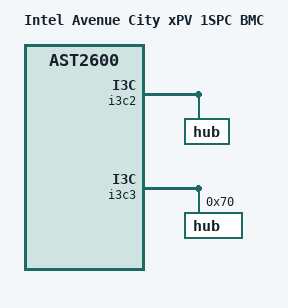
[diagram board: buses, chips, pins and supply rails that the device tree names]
// SPDX-License-Identifier: GPL-2.0+
/dts-v1/;

#include "aspeed-bmc-intel-bhs.dtsi"

/ {
	model = "Intel Avenue City xPV 1SPC BMC";
	compatible = "intel,avc-xpv1s-bmc", "aspeed,ast2600";
};

&mac3 {
	/* OCP NIC is not supported by xPV platforms */
	status = "disabled";
};

&i3c2 {
	/* I3C_MNG_LVC18 */

	hub@0,0 {
		cp0-ldo = "disabled";
		cp1-ldo = "disabled";
		tp0145-ldo = "disabled";
		tp2367-ldo = "disabled";
		tp0145-pullup = "2k";
		tp2367-pullup = "2k";

		target-port@0 {
			mode = "i3c";
			pullup = "enabled";
		};
		target-port@1 {
			mode = "disabled";
			pullup = "enabled";
		};
		target-port@2 {
			mode = "i3c";
			pullup = "enabled";
		};
		target-port@3 {
			mode = "disabled";
			pullup = "enabled";
		};
		target-port@4 {
			mode = "disabled";
			pullup = "enabled";
		};
		target-port@5 {
			mode = "disabled";
			pullup = "enabled";
		};
		target-port@6 {
			mode = "disabled";
			pullup = "enabled";
		};
		target-port@7 {
			mode = "disabled";
			pullup = "enabled";
		};
	};
};

&i3c3 {
	/* I3C_SPD_BMC */
	i3c-scl-hz = <6000000>;
	i3c-pp-scl-high-ns = <70>;

	/* Renesas RG3MxxB12A0 */
	hub@70,3C000000100 {
		reg = <0x70 0x3C0 0x00000100>;
		assigned-address = <0x70>;
		dcr = <0xC2>;

		cp0-ldo = "disabled";
		cp1-ldo = "disabled";
		tp0145-ldo = "disabled";
		tp2367-ldo = "disabled";
		tp0145-pullup = "2k";
		tp2367-pullup = "2k";

		target-port@0 {
			mode = "i3c";
			pullup = "enabled";
		};
		target-port@1 {
			mode = "i3c";
			pullup = "enabled";
		};
		target-port@2 {
			mode = "i3c";
			pullup = "enabled";
		};
		target-port@3 {
			mode = "i3c";
			pullup = "enabled";
		};
		target-port@4 {
			mode = "i3c";
			pullup = "enabled";
		};
		target-port@5 {
			mode = "i3c";
			pullup = "enabled";
		};
		target-port@6 {
			mode = "i3c";
			pullup = "enabled";
		};
		target-port@7 {
			mode = "i3c";
			pullup = "enabled";
		};

		i3c0@01 {
			jdec-spd;
			/* Renesas SPD5118 */
			spd@50,3C000000000 {
				assigned-address = <0x50>;
				reg = <0x50 0x3C0 0x00000000>;
			};
			/* Renesas SPD5118 */
			spd@52,3C000000001 {
				assigned-address = <0x52>;
				reg = <0x52 0x3C0 0x00000001>;
			};
			/* Renesas SPD5118 */
			spd@54,3C000000002 {
				assigned-address = <0x54>;
				reg = <0x54 0x3C0 0x00000002>;
			};
		};
		i3c1@02 {
			jdec-spd;
			/* Renesas SPD5118 */
			spd@50,3C000000000 {
				assigned-address = <0x50>;
				reg = <0x50 0x3C0 0x00000000>;
			};
			/* Renesas SPD5118 */
			spd@52,3C000000001 {
				assigned-address = <0x52>;
				reg = <0x52 0x3C0 0x00000001>;
			};
			/* Renesas SPD5118 */
			spd@54,3C000000002 {
				assigned-address = <0x54>;
				reg = <0x54 0x3C0 0x00000002>;
			};
		};
		i3c2@10 {
			jdec-spd;
			/* Renesas SPD5118 */
			spd@50,3C000000000 {
				assigned-address = <0x50>;
				reg = <0x50 0x3C0 0x00000000>;
			};
			/* Renesas SPD5118 */
			spd@52,3C000000001 {
				assigned-address = <0x52>;
				reg = <0x52 0x3C0 0x00000001>;
			};
			/* Renesas SPD5118 */
			spd@54,3C000000002 {
				assigned-address = <0x54>;
				reg = <0x54 0x3C0 0x00000002>;
			};
		};
		i3c3@20 {
			jdec-spd;
			/* Renesas SPD5118 */
			spd@50,3C000000000 {
				assigned-address = <0x50>;
				reg = <0x50 0x3C0 0x00000000>;
			};
			/* Renesas SPD5118 */
			spd@52,3C000000001 {
				assigned-address = <0x52>;
				reg = <0x52 0x3C0 0x00000001>;
			};
			/* Renesas SPD5118 */
			spd@54,3C000000002 {
				assigned-address = <0x54>;
				reg = <0x54 0x3C0 0x00000002>;
			};
		};
		i3c4@04 {
			jdec-spd;
			/* Renesas SPD5118 */
			spd@50,3C000000000 {
				assigned-address = <0x50>;
				reg = <0x50 0x3C0 0x00000000>;
			};
			/* Renesas SPD5118 */
			spd@52,3C000000001 {
				assigned-address = <0x52>;
				reg = <0x52 0x3C0 0x00000001>;
			};
			/* Renesas SPD5118 */
			spd@54,3C000000002 {
				assigned-address = <0x54>;
				reg = <0x54 0x3C0 0x00000002>;
			};
		};
		i3c5@08 {
			jdec-spd;
			/* Renesas SPD5118 */
			spd@50,3C000000000 {
				assigned-address = <0x50>;
				reg = <0x50 0x3C0 0x00000000>;
			};
			/* Renesas SPD5118 */
			spd@52,3C000000001 {
				assigned-address = <0x52>;
				reg = <0x52 0x3C0 0x00000001>;
			};
			/* Renesas SPD5118 */
			spd@54,3C000000002 {
				assigned-address = <0x54>;
				reg = <0x54 0x3C0 0x00000002>;
			};
		};
		i3c6@40 {
			jdec-spd;
			/* Renesas SPD5118 */
			spd@50,3C000000000 {
				assigned-address = <0x50>;
				reg = <0x50 0x3C0 0x00000000>;
			};
			/* Renesas SPD5118 */
			spd@52,3C000000001 {
				assigned-address = <0x52>;
				reg = <0x52 0x3C0 0x00000001>;
			};
			/* Renesas SPD5118 */
			spd@54,3C000000002 {
				assigned-address = <0x54>;
				reg = <0x54 0x3C0 0x00000002>;
			};
		};
		i3c7@80 {
			jdec-spd;
			/* Renesas SPD5118 */
			spd@50,3C000000000 {
				assigned-address = <0x50>;
				reg = <0x50 0x3C0 0x00000000>;
			};
			/* Renesas SPD5118 */
			spd@52,3C000000001 {
				assigned-address = <0x52>;
				reg = <0x52 0x3C0 0x00000001>;
			};
			/* Renesas SPD5118 */
			spd@54,3C000000002 {
				assigned-address = <0x54>;
				reg = <0x54 0x3C0 0x00000002>;
			};
		};
	};
};
